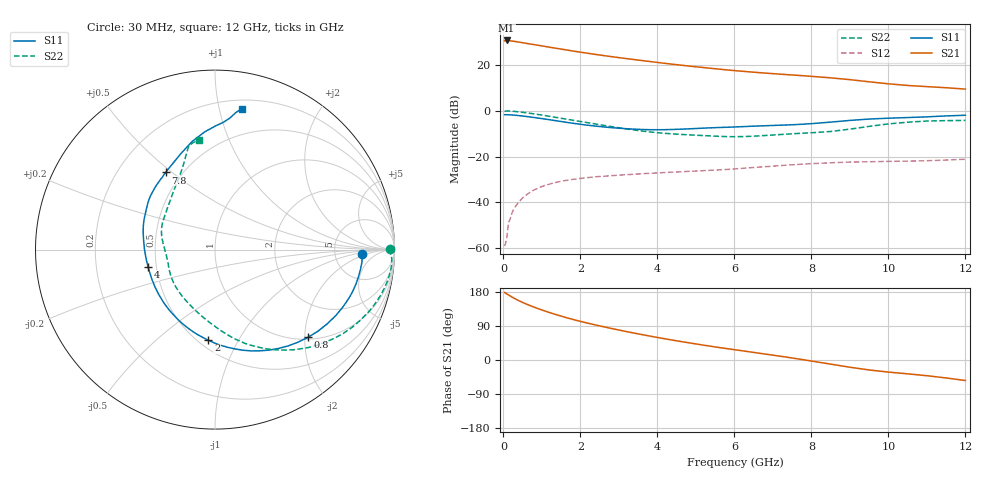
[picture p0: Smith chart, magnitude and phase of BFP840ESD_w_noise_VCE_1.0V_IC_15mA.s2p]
! Infineon Technologies  Discrete & RF Semiconductors
! BFP840ESD
! VCE =  1.0 V,  IC =  15 mA
! Common Emitter S-Parameters:  May 2012
# GHz  S  MA  R  50
!  f  S11  S21  S12  S22
! GHz  MAG  ANG  MAG  ANG  MAG  ANG  MAG  ANG
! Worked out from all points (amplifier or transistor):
!   93 points, 30 MHz to 12 GHz, reference 50 ohm
!   highest |S21| = 30.7 dB at 80 MHz (marker M1)
!   |S21| within 3 dB of that: start of sweep to 1.215 GHz
!   unconditionally stable (mu >= 1): 5.037 GHz to 9.841 GHz
!   at 1.1 GHz: K = 0.34, MSG = 30.3 dB, |S12| = -32.5 dB
!   at 4.2 GHz: K = 0.91, MSG = 23.9 dB, |S12| = -27.0 dB
!   at 12 GHz: K = 0.78, MSG = 15.3 dB, |S12| = -21.2 dB
!   lowest NFmin = 0.99 dB at 450 MHz
!   S11 on the Smith chart (normalised r, x): 30 MHz: 10, -2; 800 MHz: 1.05, -2.08; 2 GHz: 0.56, -0.76; 4 GHz: 0.45, -0.10; 7.8 GHz: 0.41, +0.48; 12 GHz: 0.27, +1.17
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0.03  0.8205 -1.8  33.75 178.1  0.0011 107.3  0.9729 0.2
0.08  0.8218 -4.8  34.4 174.8  0.0015 71.7  0.9862 -2.8
0.23  0.8084 -13.7  33.31 165.7  0.0061 81.1  0.9765 -10.4
0.38  0.7869 -22.1  31.84 157.5  0.0097 74.9  0.9496 -17.0
0.6  0.75 -33.4  29.69 147.4  0.0146 69.7  0.9013 -25.8
0.8  0.7122 -43.3  27.89 139.3  0.0187 64.5  0.8541 -33.1
1  0.6741 -52.7  26.11 132.0  0.0222 59.5  0.8045 -39.8
1.3  0.6176 -65.9  23.7 121.9  0.0265 53.0  0.7312 -49.1
1.7  0.549 -82.6  20.92 109.9  0.0307 46.2  0.6417 -60.2
2  0.5067 -94.2  19.08 101.9  0.0333 42.4  0.5829 -67.6
2.1  0.4938 -98.0  18.54 99.4  0.034 41.2  0.565 -70.0
2.6  0.4445 -116.4  16.09 87.7  0.037 36.3  0.4813 -81.4
3  0.4157 -130.8  14.5 79.1  0.0391 33.6  0.4248 -90.5
3.5  0.3935 -148.4  12.82 68.9  0.0416 30.8  0.3701 -103.3
4  0.3851 -165.6  11.38 59.5  0.0439 28.4  0.3316 -117.1
4.1  0.3854 -168.9  11.12 57.6  0.0442 28.3  0.3264 -120.0
5  0.41 167.3  9.148 42.4  0.0482 25.1  0.2923 -143.7
6.1  0.4459 148.6  7.426 25.8  0.0545 22.8  0.2723 -170.0
7.8  0.5098 122.5  5.814 0.6  0.0684 13.6  0.3241 155.7
8.5  0.5653 110.0  5.239 -10.9  0.073 8.2  0.3525 138.6
10.5  0.7113 86.2  3.573 -36.5  0.0793 -5.6  0.5624 106.3
12  0.799 79.3  2.975 -54.1  0.0874 -12.5  0.6157 98.4
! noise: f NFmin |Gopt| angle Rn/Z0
0.45  0.99  0.16  1  0.14
0.9  1  0.16  3  0.13
1.5  1.01  0.16  7  0.13
1.9  1.02  0.14  11  0.12
2.4  1.02  0.11  16  0.11
3.5  1.03  0.02  54  0.1
5.5  1.06  0.09  -130  0.11
8  1.17  0.3  -112  0.13
10  1.29  0.51  -80  0.23
12  1.5  0.63  -66  0.32
